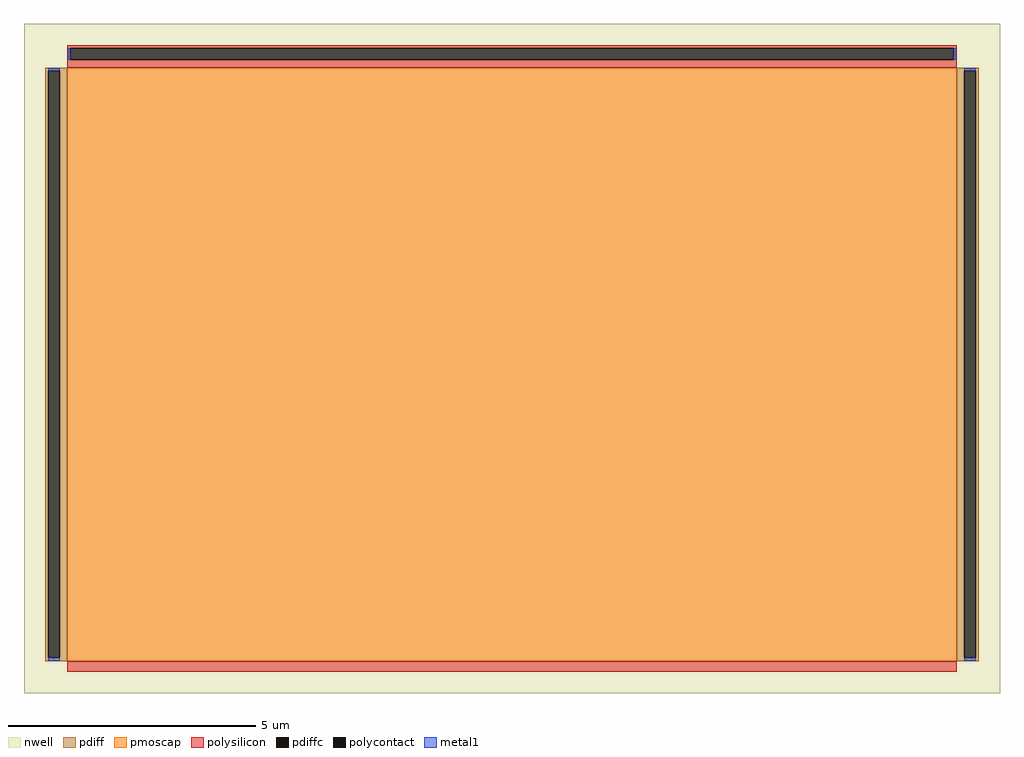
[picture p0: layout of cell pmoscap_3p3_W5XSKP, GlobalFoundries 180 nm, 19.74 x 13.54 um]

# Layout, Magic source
magic
tech gf180mcuD
magscale 1 10
<< nwell >>
rect -1974 -1354 1974 1354
<< pdiff >>
rect -1888 1163 -1800 1176
rect -1888 -1211 -1875 1163
rect -1829 -1211 -1800 1163
rect -1888 -1224 -1800 -1211
rect 1800 1163 1888 1176
rect 1800 -1211 1829 1163
rect 1875 -1211 1888 1163
rect 1800 -1224 1888 -1211
<< pdiffc >>
rect -1875 -1211 -1829 1163
rect 1829 -1211 1875 1163
<< pmoscap >>
rect -1800 -1224 1800 1176
<< polysilicon >>
rect -1800 1255 1800 1268
rect -1800 1209 -1787 1255
rect 1787 1209 1800 1255
rect -1800 1176 1800 1209
rect -1800 -1268 1800 -1224
<< polycontact >>
rect -1787 1209 1787 1255
<< metal1 >>
rect -1798 1209 -1787 1255
rect 1787 1209 1798 1255
rect -1875 1163 -1829 1174
rect -1875 -1222 -1829 -1211
rect 1829 1163 1875 1174
rect 1829 -1222 1875 -1211
<< properties >>
string gencell pmoscap_3p3
string library gf180mcu
string parameters w 12 l 18 m 1 nf 1 diffcov 100 polycov 100 guard 0 glc 0 grc 0 gtc 0 gbc 0 tbcov 100 rlcov 100 topc 1 botc 0 poverlap 0 doverlap 1 lmin 0.28 wmin 0.22 class mosfet full_metal 0 compatible {pmoscap_3p3 pmoscap_6p0}
<< end >>
